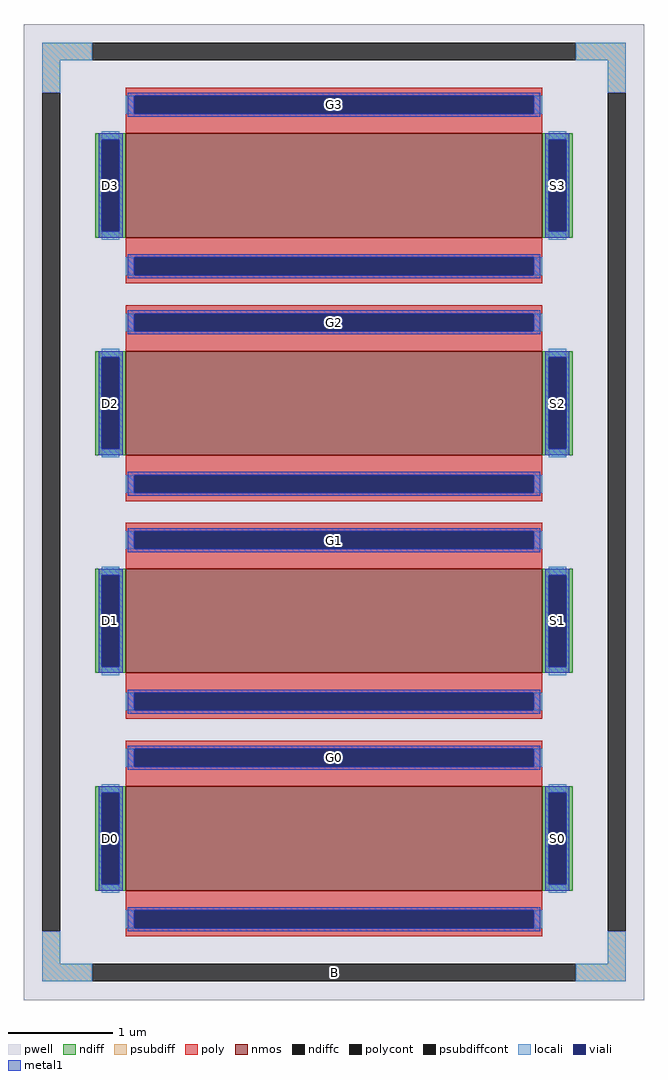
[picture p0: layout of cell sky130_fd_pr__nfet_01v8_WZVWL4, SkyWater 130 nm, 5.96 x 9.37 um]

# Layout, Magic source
magic
tech sky130A
magscale 1 2
<< pwell >>
rect -596 -937 596 937
<< nmos >>
rect -400 527 400 727
rect -400 109 400 309
rect -400 -309 400 -109
rect -400 -727 400 -527
<< ndiff >>
rect -458 715 -400 727
rect -458 539 -446 715
rect -412 539 -400 715
rect -458 527 -400 539
rect 400 715 458 727
rect 400 539 412 715
rect 446 539 458 715
rect 400 527 458 539
rect -458 297 -400 309
rect -458 121 -446 297
rect -412 121 -400 297
rect -458 109 -400 121
rect 400 297 458 309
rect 400 121 412 297
rect 446 121 458 297
rect 400 109 458 121
rect -458 -121 -400 -109
rect -458 -297 -446 -121
rect -412 -297 -400 -121
rect -458 -309 -400 -297
rect 400 -121 458 -109
rect 400 -297 412 -121
rect 446 -297 458 -121
rect 400 -309 458 -297
rect -458 -539 -400 -527
rect -458 -715 -446 -539
rect -412 -715 -400 -539
rect -458 -727 -400 -715
rect 400 -539 458 -527
rect 400 -715 412 -539
rect 446 -715 458 -539
rect 400 -727 458 -715
<< ndiffc >>
rect -446 539 -412 715
rect 412 539 446 715
rect -446 121 -412 297
rect 412 121 446 297
rect -446 -297 -412 -121
rect 412 -297 446 -121
rect -446 -715 -412 -539
rect 412 -715 446 -539
<< psubdiff >>
rect -560 867 -464 901
rect 464 867 560 901
rect -560 805 -526 867
rect 526 805 560 867
rect -560 -867 -526 -805
rect 526 -867 560 -805
rect -560 -901 -464 -867
rect 464 -901 560 -867
<< psubdiffcont >>
rect -464 867 464 901
rect -560 -805 -526 805
rect 526 -805 560 805
rect -464 -901 464 -867
<< poly >>
rect -400 799 400 815
rect -400 765 -384 799
rect 384 765 400 799
rect -400 727 400 765
rect -400 489 400 527
rect -400 455 -384 489
rect 384 455 400 489
rect -400 439 400 455
rect -400 381 400 397
rect -400 347 -384 381
rect 384 347 400 381
rect -400 309 400 347
rect -400 71 400 109
rect -400 37 -384 71
rect 384 37 400 71
rect -400 21 400 37
rect -400 -37 400 -21
rect -400 -71 -384 -37
rect 384 -71 400 -37
rect -400 -109 400 -71
rect -400 -347 400 -309
rect -400 -381 -384 -347
rect 384 -381 400 -347
rect -400 -397 400 -381
rect -400 -455 400 -439
rect -400 -489 -384 -455
rect 384 -489 400 -455
rect -400 -527 400 -489
rect -400 -765 400 -727
rect -400 -799 -384 -765
rect 384 -799 400 -765
rect -400 -815 400 -799
<< polycont >>
rect -384 765 384 799
rect -384 455 384 489
rect -384 347 384 381
rect -384 37 384 71
rect -384 -71 384 -37
rect -384 -381 384 -347
rect -384 -489 384 -455
rect -384 -799 384 -765
<< locali >>
rect -560 867 -464 901
rect 464 867 560 901
rect -560 805 -526 867
rect 526 805 560 867
rect -400 765 -384 799
rect 384 765 400 799
rect -446 715 -412 731
rect -446 523 -412 539
rect 412 715 446 731
rect 412 523 446 539
rect -400 455 -384 489
rect 384 455 400 489
rect -400 347 -384 381
rect 384 347 400 381
rect -446 297 -412 313
rect -446 105 -412 121
rect 412 297 446 313
rect 412 105 446 121
rect -400 37 -384 71
rect 384 37 400 71
rect -400 -71 -384 -37
rect 384 -71 400 -37
rect -446 -121 -412 -105
rect -446 -313 -412 -297
rect 412 -121 446 -105
rect 412 -313 446 -297
rect -400 -381 -384 -347
rect 384 -381 400 -347
rect -400 -489 -384 -455
rect 384 -489 400 -455
rect -446 -539 -412 -523
rect -446 -731 -412 -715
rect 412 -539 446 -523
rect 412 -731 446 -715
rect -400 -799 -384 -765
rect 384 -799 400 -765
rect -560 -867 -526 -805
rect 526 -867 560 -805
rect -560 -901 -464 -867
rect 464 -901 560 -867
<< viali >>
rect -384 765 384 799
rect -446 539 -412 715
rect 412 539 446 715
rect -384 455 384 489
rect -384 347 384 381
rect -446 121 -412 297
rect 412 121 446 297
rect -384 37 384 71
rect -384 -71 384 -37
rect -446 -297 -412 -121
rect 412 -297 446 -121
rect -384 -381 384 -347
rect -384 -489 384 -455
rect -446 -715 -412 -539
rect 412 -715 446 -539
rect -384 -799 384 -765
<< metal1 >>
rect -396 799 396 805
rect -396 765 -384 799
rect 384 765 396 799
rect -396 759 396 765
rect -452 715 -406 727
rect -452 539 -446 715
rect -412 539 -406 715
rect -452 527 -406 539
rect 406 715 452 727
rect 406 539 412 715
rect 446 539 452 715
rect 406 527 452 539
rect -396 489 396 495
rect -396 455 -384 489
rect 384 455 396 489
rect -396 449 396 455
rect -396 381 396 387
rect -396 347 -384 381
rect 384 347 396 381
rect -396 341 396 347
rect -452 297 -406 309
rect -452 121 -446 297
rect -412 121 -406 297
rect -452 109 -406 121
rect 406 297 452 309
rect 406 121 412 297
rect 446 121 452 297
rect 406 109 452 121
rect -396 71 396 77
rect -396 37 -384 71
rect 384 37 396 71
rect -396 31 396 37
rect -396 -37 396 -31
rect -396 -71 -384 -37
rect 384 -71 396 -37
rect -396 -77 396 -71
rect -452 -121 -406 -109
rect -452 -297 -446 -121
rect -412 -297 -406 -121
rect -452 -309 -406 -297
rect 406 -121 452 -109
rect 406 -297 412 -121
rect 446 -297 452 -121
rect 406 -309 452 -297
rect -396 -347 396 -341
rect -396 -381 -384 -347
rect 384 -381 396 -347
rect -396 -387 396 -381
rect -396 -455 396 -449
rect -396 -489 -384 -455
rect 384 -489 396 -455
rect -396 -495 396 -489
rect -452 -539 -406 -527
rect -452 -715 -446 -539
rect -412 -715 -406 -539
rect -452 -727 -406 -715
rect 406 -539 452 -527
rect 406 -715 412 -539
rect 446 -715 452 -539
rect 406 -727 452 -715
rect -396 -765 396 -759
rect -396 -799 -384 -765
rect 384 -799 396 -765
rect -396 -805 396 -799
<< labels >>
rlabel psubdiffcont 0 -884 0 -884 0 B
port 1 nsew
rlabel ndiffc -429 -627 -429 -627 0 D0
port 2 nsew
rlabel ndiffc 429 -627 429 -627 0 S0
port 3 nsew
rlabel polycont 0 -472 0 -472 0 G0
port 4 nsew
rlabel ndiffc -429 -209 -429 -209 0 D1
port 5 nsew
rlabel ndiffc 429 -209 429 -209 0 S1
port 6 nsew
rlabel polycont 0 -54 0 -54 0 G1
port 7 nsew
rlabel ndiffc -429 209 -429 209 0 D2
port 8 nsew
rlabel ndiffc 429 209 429 209 0 S2
port 9 nsew
rlabel polycont 0 364 0 364 0 G2
port 10 nsew
rlabel ndiffc -429 627 -429 627 0 D3
port 11 nsew
rlabel ndiffc 429 627 429 627 0 S3
port 12 nsew
rlabel polycont 0 782 0 782 0 G3
port 13 nsew
<< properties >>
string FIXED_BBOX -543 -884 543 884
string gencell sky130_fd_pr__nfet_01v8
string library sky130
string parameters w 1.0 l 4.0 m 4 nf 1 diffcov 100 polycov 100 guard 1 glc 1 grc 1 gtc 1 gbc 1 tbcov 100 rlcov 100 topc 1 botc 1 poverlap 0 doverlap 1 lmin 0.15 wmin 0.42 class mosfet compatible {sky130_fd_pr__nfet_01v8 sky130_fd_pr__nfet_01v8_lvt  sky130_fd_bs_flash__special_sonosfet_star  sky130_fd_pr__nfet_g5v0d10v5 sky130_fd_pr__nfet_05v0_nvt  sky130_fd_pr__nfet_03v3_nvt} full_metal 1 conn_gates 0 viasrc 100 viadrn 100 viagate 100 viagb 0 viagr 0 viagl 0 viagt 0 doports 1
<< end >>
